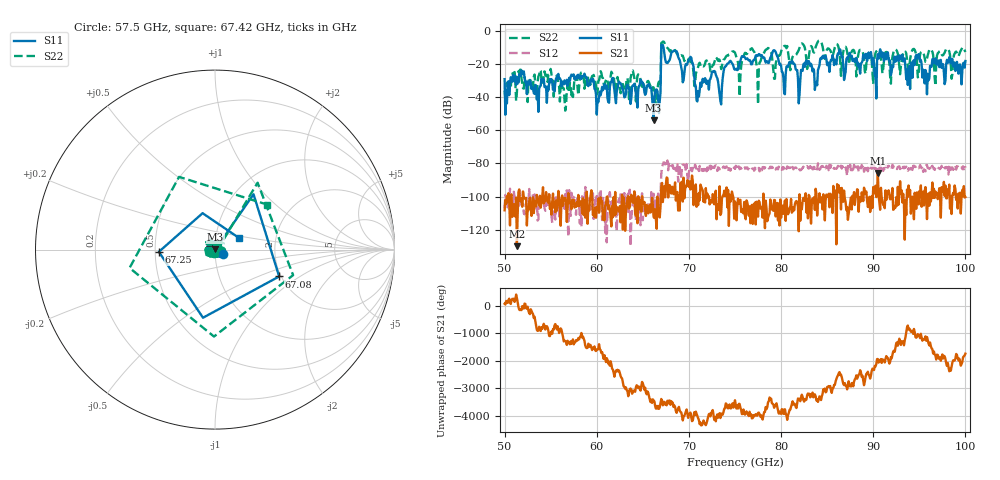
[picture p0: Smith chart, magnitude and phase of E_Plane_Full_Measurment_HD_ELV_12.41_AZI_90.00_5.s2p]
! 11/26/2026 3:16:07 PM
! C:\ANRITSUVNA\TEMP\TEMP.S2P
! CHANNEL.1
! TR.MEASUREMENT
! RAW.DATA
# HZ S RI R 50.0
! FREQ.HZ  S11RE  S11IM  S21RE  S21IM  S12RE  S12IM  S22RE  S22IM
!; PortSelection: Port_12
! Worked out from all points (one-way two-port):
!   601 points, 50 GHz to 100 GHz, reference 50 ohm
!   highest |S21| = -85.79 dB at 90.5 GHz (marker M1); lowest = -130.0 dB at 51.33 GHz (marker M2)
!   lowest |S11| = -53.9 dB at 66.17 GHz (marker M3), VSWR 1.00, Z = 50.1 + j0.147 ohm
!   |S11| at or under -10 dB: start of sweep to 67 GHz; 67.25 GHz to end of sweep
!   |S22| runs from -48.0 to -5.6 dB; largest |S21 - S12| = 0.00015
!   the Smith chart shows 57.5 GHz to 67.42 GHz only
!   S11 on the Smith chart (normalised r, x): 57.5 GHz: 1.09, -0.05; 67.08 GHz: 1.95, -0.69; 67.25 GHz: 0.52, -0.01; 67.42 GHz: 1.29, +0.17
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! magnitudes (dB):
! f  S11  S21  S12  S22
! 50 GHz  -29.0  -108.3  -106.9  -35.9
! 51.33 GHz  -30.2  -130.0  -108.3  -36.9
! 57.5 GHz  -26.2  -101.9  -100.2  -34.7
! 58.42 GHz  -27.2  -110.4  -99.8  -24.7
! 60.17 GHz  -42.9  -101.1  -110.6  -30.4
! 66.17 GHz  -53.9  -112.3  -98.3  -34.0
! 66.67 GHz  -41.5  -108.0  -98.2  -31.7
! 67.08 GHz  -8.2  -91.8  -82.0  -6.8
! 67.25 GHz  -10.1  -97.8  -79.3  -6.3
! 67.42 GHz  -16.6  -100.4  -80.5  -8.3
! 70.25 GHz  -15.9  -93.3  -83.7  -18.8
! 70.92 GHz  -42.5  -98.5  -84.2  -23.1
! 75 GHz  -23.3  -103.0  -83.3  -13.0
! 79.25 GHz  -11.5  -102.1  -83.5  -28.8
! 80.25 GHz  -27.8  -110.5  -83.5  -9.3
! 83.42 GHz  -24.3  -101.1  -83.5  -10.8
! 90.5 GHz  -13.9  -85.8  -87.0  -11.4
! 91.67 GHz  -16.7  -96.2  -81.4  -15.2
! 93.75 GHz  -32.5  -100.3  -84.4  -21.3
! 94.83 GHz  -15.1  -97.8  -82.8  -27.9
! 95.83 GHz  -38.2  -113.6  -81.0  -16.5
! 100 GHz  -18.0  -100.3  -81.7  -12.6
